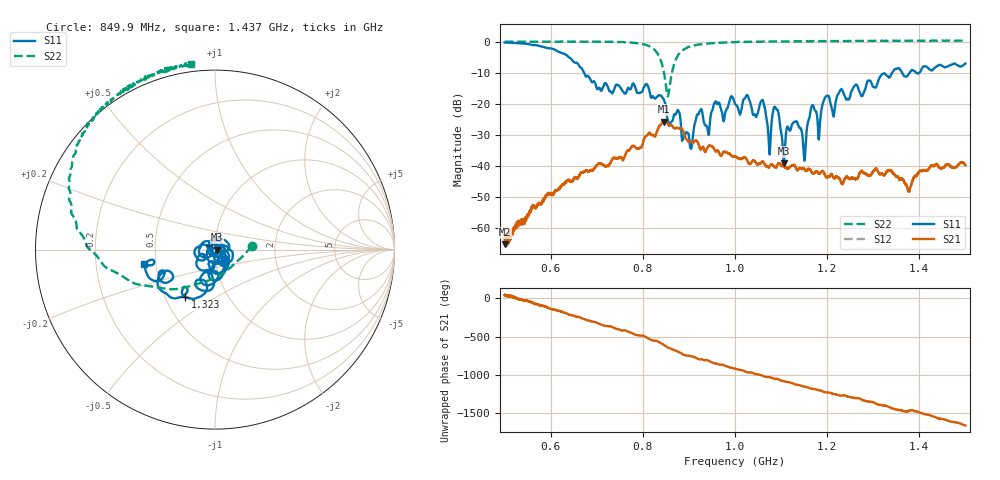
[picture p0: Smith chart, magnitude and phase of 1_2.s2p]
!Keysight Technologies,N5242B,MY48420860,A.13.80.08
!Date: Saturday, September 26, 2020 12:31:33
!Correction: S11(Full 2 Port(1,2))
!S21(Full 2 Port(1,2))
!S12(Full 2 Port(1,2))
!S22(Full 2 Port(1,2))
!S2P File: Measurements: S11, S21, S12, S22:
# Hz S  dB  R 50
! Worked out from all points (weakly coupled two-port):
!   2650 points, 500 MHz to 1.5 GHz, reference 50 ohm
!   highest |S21| = -25.69 dB at 845 MHz (marker M1); lowest = -65.3 dB at 500.8 MHz (marker M2)
!   lowest |S11| = -39.2 dB at 1.106 GHz (marker M3), VSWR 1.02, Z = 51.1 - j0.0407 ohm
!   |S11| at or under -10 dB: 672.7 MHz to 1.341 GHz (668 MHz wide, 66.4 % of centre); 1.363 GHz to 1.379 GHz (15.99 MHz wide, 1.17 % of centre); 1.393911 GHz to 1.399369 GHz (5.458 MHz wide, 0.391 % of centre)
!   |S22| runs from -17.6 to 0.4 dB; largest |S21 - S12| = 0.00037
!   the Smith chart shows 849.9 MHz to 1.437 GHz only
!   S11 on the Smith chart (normalised r, x): 849.9 MHz: 1.11, -0.14; 1.323 GHz: 0.63, -0.37; 1.437 GHz: 0.43, -0.08
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5e8  -0.24 -166.2  -63.25 43.5  -64.43 47.7  0.03 147.7
5.00755e8  -0.25 -166.6  -65.26 49.3  -64.23 32.5  0.03 147.7
6.053228e8  -2.31 126.0  -49.37 -141.4  -49.26 -144.0  0.04 139.4
6.668554e8  -8.49 77.0  -42.09 102.7  -42.07 101.8  0.04 133.1
8.337108e8  -17.32 10.4  -27.80 155.2  -27.82 155.0  -4.18 66.3
8.450359e8  -18.43 -25.4  -25.69 113.0  -25.70 113.1  -9.34 34.2
8.499434e8  -21.30 -48.6  -25.73 94.6  -25.73 94.6  -13.78 5.6
8.93356e8  -29.22 77.9  -31.19 -23.9  -31.24 -24.0  -2.12 170.1
1.000189e9  -20.00 -107.3  -36.85 161.6  -36.90 161.7  -0.07 136.2
1.059834e9  -18.71 -171.2  -38.58 69.7  -38.69 69.5  0.09 128.4
1.074556e9  -35.78 173.8  -40.27 51.7  -40.26 51.7  0.08 126.7
1.088901e9  -21.52 172.1  -40.48 30.1  -40.55 29.3  0.09 125.6
1.105889e9  -39.19 -2.1  -40.03 -3.5  -40.05 -3.6  0.14 124.0
1.130427e9  -25.80 46.7  -40.11 -44.3  -40.06 -44.5  0.17 121.9
1.151189e9  -38.09 110.6  -41.09 -76.0  -41.06 -74.8  0.16 120.3
1.166667e9  -20.72 -35.1  -42.02 -102.1  -42.11 -101.6  0.14 118.7
1.182144e9  -31.26 -52.1  -42.55 -121.0  -42.58 -121.5  0.15 117.4
1.32333e9  -10.13 -121.9  -42.86 40.6  -43.00 39.4  0.27 106.1
1.333522e9  -11.44 -129.3  -41.54 23.4  -41.52 23.7  0.38 105.3
1.377312e9  -10.30 -144.9  -48.07 -31.3  -48.35 -30.0  0.36 101.9
1.436957e9  -7.94 -168.7  -39.32 -117.0  -39.46 -117.5  0.38 97.5
1.5e9  -6.99 167.7  -39.77 140.3  -39.84 140.0  0.35 91.7
